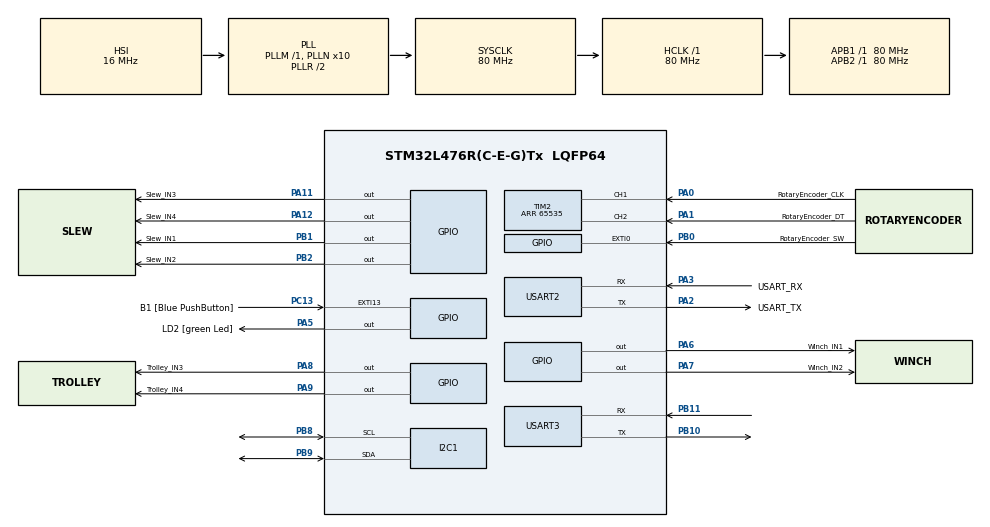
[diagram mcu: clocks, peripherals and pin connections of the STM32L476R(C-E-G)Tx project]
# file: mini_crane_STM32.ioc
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I2C1.Timing=0x10D19CE4
Mcu.Family=STM32L4
Mcu.Name=STM32L476R(C-E-G)Tx
Mcu.Package=LQFP64
NVIC.EXTI0_IRQn=true\:0\:0\:false\:false\:true\:true\:true\:true
NVIC.PriorityGroup=NVIC_PRIORITYGROUP_4
NVIC.TIM5_IRQn=true\:0\:0\:false\:false\:true\:true\:true\:true
NVIC.USART3_IRQn=true\:0\:0\:false\:false\:true\:true\:true\:true
PA0.GPIO_Label=RotaryEncoder_CLK
PA0.Signal=S_TIM2_CH1
PA1.GPIO_Label=RotaryEncoder_DT
PA1.Signal=S_TIM2_CH2
PA11.GPIO_Label=Slew_IN3
PA11.GPIO_Speed=GPIO_SPEED_FREQ_LOW
PA11.Signal=GPIO_Output
PA12.GPIO_Label=Slew_IN4
PA12.Signal=GPIO_Output
PA13\ (JTMS-SWDIO).GPIO_Label=TMS
PA13\ (JTMS-SWDIO).Mode=Serial_Wire
PA13\ (JTMS-SWDIO).Signal=SYS_JTMS-SWDIO
PA14\ (JTCK-SWCLK).GPIO_Label=TCK
PA14\ (JTCK-SWCLK).Mode=Serial_Wire
PA14\ (JTCK-SWCLK).Signal=SYS_JTCK-SWCLK
PA2.GPIO_Label=USART_TX
PA2.GPIO_Mode=GPIO_MODE_AF_PP
PA2.GPIO_PuPd=GPIO_NOPULL
PA2.GPIO_Speed=GPIO_SPEED_FREQ_VERY_HIGH
PA2.Mode=Asynchronous
PA2.Signal=USART2_TX
PA3.GPIO_Label=USART_RX
PA3.GPIO_Mode=GPIO_MODE_AF_PP
PA3.GPIO_PuPd=GPIO_NOPULL
PA3.GPIO_Speed=GPIO_SPEED_FREQ_VERY_HIGH
PA3.Mode=Asynchronous
PA3.Signal=USART2_RX
PA5.GPIO_Label=LD2 [green Led]
PA5.GPIO_ModeDefaultOutputPP=GPIO_MODE_OUTPUT_PP
PA5.GPIO_PuPd=GPIO_NOPULL
PA5.GPIO_Speed=GPIO_SPEED_FREQ_LOW
PA5.Signal=GPIO_Output
PA6.GPIO_Label=Winch_IN1
PA6.Signal=GPIO_Output
PA7.GPIO_Label=Winch_IN2
PA7.Signal=GPIO_Output
PA8.GPIO_Label=Trolley_IN3
PA8.Signal=GPIO_Output
PA9.GPIO_Label=Trolley_IN4
PA9.Signal=GPIO_Output
PB0.GPIO_Label=RotaryEncoder_SW
PB0.GPIO_ModeDefaultEXTI=GPIO_MODE_IT_FALLING
PB0.GPIO_PuPd=GPIO_PULLUP
PB0.Signal=GPXTI0
PB1.GPIO_Label=Slew_IN1
PB1.Signal=GPIO_Output
PB10.Mode=Asynchronous
PB10.Signal=USART3_TX
PB11.Mode=Asynchronous
PB11.Signal=USART3_RX
PB2.GPIO_Label=Slew_IN2
PB2.Signal=GPIO_Output
PB3\ (JTDO-TRACESWO).GPIO_Label=SWO
PB3\ (JTDO-TRACESWO).Signal=SYS_JTDO-SWO
PB8.GPIO_Pu=GPIO_PULLUP
PB8.Mode=I2C
PB8.Signal=I2C1_SCL
PB9.GPIO_Pu=GPIO_PULLUP
PB9.Mode=I2C
PB9.Signal=I2C1_SDA
PC13.GPIO_Label=B1 [Blue PushButton]
PC13.GPIO_ModeDefaultEXTI=GPIO_MODE_IT_FALLING
PC13.GPIO_PuPd=GPIO_NOPULL
PC13.Signal=GPXTI13
PC14-OSC32_IN\ (PC14).Mode=LSE-External-Oscillator
PC14-OSC32_IN\ (PC14).Signal=RCC_OSC32_IN
PC15-OSC32_OUT\ (PC15).Mode=LSE-External-Oscillator
PC15-OSC32_OUT\ (PC15).Signal=RCC_OSC32_OUT
PH0-OSC_IN\ (PH0).Signal=RCC_OSC_IN
PH1-OSC_OUT\ (PH1).Signal=RCC_OSC_OUT
ProjectManager.HeapSize=0x200
ProjectManager.StackSize=0x400
ProjectManager.TargetToolchain=STM32CubeIDE
RCC.ADCFreq_Value=64000000
RCC.AHBFreq_Value=80000000
RCC.APB1Freq_Value=80000000
RCC.APB1TimFreq_Value=80000000
RCC.APB2Freq_Value=80000000
RCC.APB2TimFreq_Value=80000000
RCC.CortexFreq_Value=80000000
RCC.HCLKFreq_Value=80000000
RCC.HSE_VALUE=8000000
RCC.HSI_VALUE=16000000
RCC.MSI_VALUE=4000000
RCC.PLLN=10
RCC.PLLSourceVirtual=RCC_PLLSOURCE_HSI
RCC.PREFETCH_ENABLE=1
RCC.SYSCLKFreq_VALUE=80000000
RCC.SYSCLKSource=RCC_SYSCLKSOURCE_PLLCLK
RCC.USBFreq_Value=64000000
RCC.VCOOutputFreq_Value=160000000
SH.S_TIM2_CH1.0=TIM2_CH1,Encoder_Interface
SH.S_TIM2_CH2.0=TIM2_CH2,Encoder_Interface
TIM2.AutoReloadPreload=TIM_AUTORELOAD_PRELOAD_ENABLE
TIM2.EncoderMode=TIM_ENCODERMODE_TI12
TIM2.IC1Filter=10
TIM2.IC1Polarity=TIM_ICPOLARITY_RISING
TIM2.IC2Filter=10
TIM2.Period=65535
TIM5.Period=1000-1
TIM5.Prescaler=80-1
USART2.VirtualMode-Asynchronous=VM_ASYNC
USART3.VirtualMode-Asynchronous=VM_ASYNC
VP_TIM5_VS_ClockSourceINT.Mode=Internal
board=NUCLEO-L476RG

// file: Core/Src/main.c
/* USER CODE BEGIN Header */
/**
  ******************************************************************************
  * @file           : main.c
  * @brief          : Main program body
  ******************************************************************************
  * @attention
  *
  * Copyright (c) 2025 STMicroelectronics.
  * All rights reserved.
  *
  * This software is licensed under terms that can be found in the LICENSE file
  * in the root directory of this software component.
  * If no LICENSE file comes with this software, it is provided AS-IS.
  *
  ******************************************************************************
  */
/* USER CODE END Header */
#include "main.h"

/* USER CODE BEGIN Includes */
#include <stdio.h>
#include <stdbool.h>
#include <math.h>
#include "arduino_comm.h"
#include "motors.h"
#include "rotary_encoder.h"
#include "swing_sensor.h"

/* USER CODE END Includes */

I2C_HandleTypeDef hi2c1;

TIM_HandleTypeDef htim2;
TIM_HandleTypeDef htim5;

UART_HandleTypeDef huart2;
UART_HandleTypeDef huart3;

/* USER CODE BEGIN PV */
bool compensation_in_progress = false;
bool prev_compensation_state = false;

RotaryEncoder_t ropeEncoder;

extern I2C_HandleTypeDef hi2c1;
SwingSensor_t swingData;

uint8_t btn;
ButtonEvent evt;
/* USER CODE END PV */

void SystemClock_Config(void);
static void MX_GPIO_Init(void);
static void MX_USART2_UART_Init(void);
static void MX_TIM5_Init(void);
static void MX_USART3_UART_Init(void);
static void MX_TIM2_Init(void);
static void MX_I2C1_Init(void);
/* USER CODE BEGIN PFP */
void TIM2_IRQHandler(void);
void Arduino_To_Motor_Control(void);
/* USER CODE END PFP */

int main(void)
{

  /* MCU Configuration--------------------------------------------------------*/

  /* Reset of all peripherals, Initializes the Flash interface and the Systick. */
  HAL_Init();

  /* Configure the system clock */
  SystemClock_Config();

  /* Initialize all configured peripherals */
  MX_GPIO_Init();
  MX_USART2_UART_Init();
  MX_TIM5_Init();
  MX_USART3_UART_Init();
  MX_TIM2_Init();
  MX_I2C1_Init();
  /* USER CODE BEGIN 2 */
  SwingSensor_Init(&hi2c1);
  HAL_Delay(1000);  // let IMU stabilize
  SwingSensor_CalibrateZero();

  RE_Init(&ropeEncoder, &htim2, 60.0f, 2.5f);   // 60 ticks (30 detents) per revelution, 2-1/2" diameter

  ArduinoComm_Init(&huart3);

  DCMotor_Init();
  SlewMotor_Init();

  int32_t count;
  float dist;
  int32_t lastCount = 0;
  float   lastDist  = 0.0f;

  uint32_t last = 0;

  printf("\033[2J\033[H");
  /* USER CODE END 2 */

  /* Infinite loop */
  while (1)
  {

    /* USER CODE BEGIN 3 */

// ----------- Compensation buzzer and LED ---------------------------
	  // using B1 just as a test/simulation going from STM32 to arduino
	  if (HAL_GPIO_ReadPin(B1_GPIO_Port, B1_Pin) == GPIO_PIN_RESET) {
		  compensation_in_progress = true;
	  }
	  else {
		  compensation_in_progress = false;
	  }
	  // turn on buzzer and LED on controller if compensation_in_progress is true
	  CheckCompensationAndNotify();
//	  test_buzzer_uart();

// ------------- Rotary Encoder -------------
// ----- This is done in the motor control function, but this one will display it anytime it changes, not just if a motor is going

//	  RE_Update(&ropeEncoder);
//	  count = RE_GetCount(&ropeEncoder);
//	  dist = RE_GetDistanceInches(&ropeEncoder);
//
//	  if (count != lastCount || dist != lastDist) {
//		  printf("Count=%ld  Distance=%.3f in\r\n", count, dist);
//	      lastCount = count;
//	      lastDist = dist;
//	  }

// ------------- MPU 6050 swing sensor -----------------------
//	  if (HAL_GetTick() - last >= 20) {  // 20 ms = 50 Hz
//		  SwingSensor_Update();
//
//		  float angle = SwingSensor_GetAngle();
//		  bool swinging = SwingSensor_IsSwinging();
//
//		  printf("Angle: %.3f    |%d\r\n", angle, swinging);
//		// Use these variables in your swing compensation logic here:
//		// angle  → filtered swing angle
//		// swinging → true/false
//
//	   	  last = HAL_GetTick();
//	  }
//
//	  HAL_Delay(100);

// ----------------- Arduino button press to motor driving -------------------
	  Arduino_To_Motor_Control();

  }
  /* USER CODE END 3 */
}

void SystemClock_Config(void)
{
  RCC_OscInitTypeDef RCC_OscInitStruct = {0};
  RCC_ClkInitTypeDef RCC_ClkInitStruct = {0};

  /** Configure the main internal regulator output voltage
  */
  if (HAL_PWREx_ControlVoltageScaling(PWR_REGULATOR_VOLTAGE_SCALE1) != HAL_OK)
  {
    Error_Handler();
  }

  /** Initializes the RCC Oscillators according to the specified parameters
  * in the RCC_OscInitTypeDef structure.
  */
  RCC_OscInitStruct.OscillatorType = RCC_OSCILLATORTYPE_HSI;
  RCC_OscInitStruct.HSIState = RCC_HSI_ON;
  RCC_OscInitStruct.HSICalibrationValue = RCC_HSICALIBRATION_DEFAULT;
  RCC_OscInitStruct.PLL.PLLState = RCC_PLL_ON;
  RCC_OscInitStruct.PLL.PLLSource = RCC_PLLSOURCE_HSI;
  RCC_OscInitStruct.PLL.PLLM = 1;
  RCC_OscInitStruct.PLL.PLLN = 10;
  RCC_OscInitStruct.PLL.PLLP = RCC_PLLP_DIV7;
  RCC_OscInitStruct.PLL.PLLQ = RCC_PLLQ_DIV2;
  RCC_OscInitStruct.PLL.PLLR = RCC_PLLR_DIV2;
  if (HAL_RCC_OscConfig(&RCC_OscInitStruct) != HAL_OK)
  {
    Error_Handler();
  }

  /** Initializes the CPU, AHB and APB buses clocks
  */
  RCC_ClkInitStruct.ClockType = RCC_CLOCKTYPE_HCLK|RCC_CLOCKTYPE_SYSCLK
                              |RCC_CLOCKTYPE_PCLK1|RCC_CLOCKTYPE_PCLK2;
  RCC_ClkInitStruct.SYSCLKSource = RCC_SYSCLKSOURCE_PLLCLK;
  RCC_ClkInitStruct.AHBCLKDivider = RCC_SYSCLK_DIV1;
  RCC_ClkInitStruct.APB1CLKDivider = RCC_HCLK_DIV1;
  RCC_ClkInitStruct.APB2CLKDivider = RCC_HCLK_DIV1;

  if (HAL_RCC_ClockConfig(&RCC_ClkInitStruct, FLASH_LATENCY_4) != HAL_OK)
  {
    Error_Handler();
  }
}

static void MX_I2C1_Init(void)
{

  hi2c1.Instance = I2C1;
  hi2c1.Init.Timing = 0x10D19CE4;
  hi2c1.Init.OwnAddress1 = 0;
  hi2c1.Init.AddressingMode = I2C_ADDRESSINGMODE_7BIT;
  hi2c1.Init.DualAddressMode = I2C_DUALADDRESS_DISABLE;
  hi2c1.Init.OwnAddress2 = 0;
  hi2c1.Init.OwnAddress2Masks = I2C_OA2_NOMASK;
  hi2c1.Init.GeneralCallMode = I2C_GENERALCALL_DISABLE;
  hi2c1.Init.NoStretchMode = I2C_NOSTRETCH_DISABLE;
  if (HAL_I2C_Init(&hi2c1) != HAL_OK)
  {
    Error_Handler();
  }

  /** Configure Analogue filter
  */
  if (HAL_I2CEx_ConfigAnalogFilter(&hi2c1, I2C_ANALOGFILTER_ENABLE) != HAL_OK)
  {
    Error_Handler();
  }

  /** Configure Digital filter
  */
  if (HAL_I2CEx_ConfigDigitalFilter(&hi2c1, 0) != HAL_OK)
  {
    Error_Handler();
  }

}

static void MX_TIM2_Init(void)
{

  TIM_Encoder_InitTypeDef sConfig = {0};
  TIM_MasterConfigTypeDef sMasterConfig = {0};

  htim2.Instance = TIM2;
  htim2.Init.Prescaler = 0;
  htim2.Init.CounterMode = TIM_COUNTERMODE_UP;
  htim2.Init.Period = 65535;
  htim2.Init.ClockDivision = TIM_CLOCKDIVISION_DIV1;
  htim2.Init.AutoReloadPreload = TIM_AUTORELOAD_PRELOAD_ENABLE;
  sConfig.EncoderMode = TIM_ENCODERMODE_TI12;
  sConfig.IC1Polarity = TIM_ICPOLARITY_RISING;
  sConfig.IC1Selection = TIM_ICSELECTION_DIRECTTI;
  sConfig.IC1Prescaler = TIM_ICPSC_DIV1;
  sConfig.IC1Filter = 10;
  sConfig.IC2Polarity = TIM_ICPOLARITY_RISING;
  sConfig.IC2Selection = TIM_ICSELECTION_DIRECTTI;
  sConfig.IC2Prescaler = TIM_ICPSC_DIV1;
  sConfig.IC2Filter = 10;
  if (HAL_TIM_Encoder_Init(&htim2, &sConfig) != HAL_OK)
  {
    Error_Handler();
  }
  sMasterConfig.MasterOutputTrigger = TIM_TRGO_RESET;
  sMasterConfig.MasterSlaveMode = TIM_MASTERSLAVEMODE_DISABLE;
  if (HAL_TIMEx_MasterConfigSynchronization(&htim2, &sMasterConfig) != HAL_OK)
  {
    Error_Handler();
  }

}

static void MX_TIM5_Init(void)
{

  TIM_ClockConfigTypeDef sClockSourceConfig = {0};
  TIM_MasterConfigTypeDef sMasterConfig = {0};

  htim5.Instance = TIM5;
  htim5.Init.Prescaler = 80-1;
  htim5.Init.CounterMode = TIM_COUNTERMODE_UP;
  htim5.Init.Period = 1000-1;
  htim5.Init.ClockDivision = TIM_CLOCKDIVISION_DIV1;
  htim5.Init.AutoReloadPreload = TIM_AUTORELOAD_PRELOAD_DISABLE;
  if (HAL_TIM_Base_Init(&htim5) != HAL_OK)
  {
    Error_Handler();
  }
  sClockSourceConfig.ClockSource = TIM_CLOCKSOURCE_INTERNAL;
  if (HAL_TIM_ConfigClockSource(&htim5, &sClockSourceConfig) != HAL_OK)
  {
    Error_Handler();
  }
  sMasterConfig.MasterOutputTrigger = TIM_TRGO_RESET;
  sMasterConfig.MasterSlaveMode = TIM_MASTERSLAVEMODE_DISABLE;
  if (HAL_TIMEx_MasterConfigSynchronization(&htim5, &sMasterConfig) != HAL_OK)
  {
    Error_Handler();
  }

}

static void MX_USART2_UART_Init(void)
{

  huart2.Instance = USART2;
  huart2.Init.BaudRate = 115200;
  huart2.Init.WordLength = UART_WORDLENGTH_8B;
  huart2.Init.StopBits = UART_STOPBITS_1;
  huart2.Init.Parity = UART_PARITY_NONE;
  huart2.Init.Mode = UART_MODE_TX_RX;
  huart2.Init.HwFlowCtl = UART_HWCONTROL_NONE;
  huart2.Init.OverSampling = UART_OVERSAMPLING_16;
  huart2.Init.OneBitSampling = UART_ONE_BIT_SAMPLE_DISABLE;
  huart2.AdvancedInit.AdvFeatureInit = UART_ADVFEATURE_NO_INIT;
  if (HAL_UART_Init(&huart2) != HAL_OK)
  {
    Error_Handler();
  }

}

static void MX_USART3_UART_Init(void)
{

  huart3.Instance = USART3;
  huart3.Init.BaudRate = 115200;
  huart3.Init.WordLength = UART_WORDLENGTH_8B;
  huart3.Init.StopBits = UART_STOPBITS_1;
  huart3.Init.Parity = UART_PARITY_NONE;
  huart3.Init.Mode = UART_MODE_TX_RX;
  huart3.Init.HwFlowCtl = UART_HWCONTROL_NONE;
  huart3.Init.OverSampling = UART_OVERSAMPLING_16;
  huart3.Init.OneBitSampling = UART_ONE_BIT_SAMPLE_DISABLE;
  huart3.AdvancedInit.AdvFeatureInit = UART_ADVFEATURE_NO_INIT;
  if (HAL_UART_Init(&huart3) != HAL_OK)
  {
    Error_Handler();
  }

}

static void MX_GPIO_Init(void)
{
  GPIO_InitTypeDef GPIO_InitStruct = {0};

  /* GPIO Ports Clock Enable */
  __HAL_RCC_GPIOC_CLK_ENABLE();
  __HAL_RCC_GPIOH_CLK_ENABLE();
  __HAL_RCC_GPIOA_CLK_ENABLE();
  __HAL_RCC_GPIOB_CLK_ENABLE();

  /*Configure GPIO pin Output Level */
  HAL_GPIO_WritePin(GPIOA, LD2_Pin|Winch_IN1_Pin|Winch_IN2_Pin|Trolley_IN3_Pin
                          |Trolley_IN4_Pin|Slew_IN3_Pin|Slew_IN4_Pin, GPIO_PIN_RESET);

  /*Configure GPIO pin Output Level */
  HAL_GPIO_WritePin(GPIOB, Slew_IN1_Pin|Slew_IN2_Pin, GPIO_PIN_RESET);

  /*Configure GPIO pin : B1_Pin */
  GPIO_InitStruct.Pin = B1_Pin;
  GPIO_InitStruct.Mode = GPIO_MODE_IT_FALLING;
  GPIO_InitStruct.Pull = GPIO_NOPULL;
  HAL_GPIO_Init(B1_GPIO_Port, &GPIO_InitStruct);

  /*Configure GPIO pins : LD2_Pin Winch_IN1_Pin Winch_IN2_Pin Trolley_IN3_Pin
                           Trolley_IN4_Pin Slew_IN3_Pin Slew_IN4_Pin */
  GPIO_InitStruct.Pin = LD2_Pin|Winch_IN1_Pin|Winch_IN2_Pin|Trolley_IN3_Pin
                          |Trolley_IN4_Pin|Slew_IN3_Pin|Slew_IN4_Pin;
  GPIO_InitStruct.Mode = GPIO_MODE_OUTPUT_PP;
  GPIO_InitStruct.Pull = GPIO_NOPULL;
  GPIO_InitStruct.Speed = GPIO_SPEED_FREQ_LOW;
  HAL_GPIO_Init(GPIOA, &GPIO_InitStruct);

  /*Configure GPIO pin : RotaryEncoder_SW_Pin */
  GPIO_InitStruct.Pin = RotaryEncoder_SW_Pin;
  GPIO_InitStruct.Mode = GPIO_MODE_IT_FALLING;
  GPIO_InitStruct.Pull = GPIO_PULLUP;
  HAL_GPIO_Init(RotaryEncoder_SW_GPIO_Port, &GPIO_InitStruct);

  /*Configure GPIO pins : Slew_IN1_Pin Slew_IN2_Pin */
  GPIO_InitStruct.Pin = Slew_IN1_Pin|Slew_IN2_Pin;
  GPIO_InitStruct.Mode = GPIO_MODE_OUTPUT_PP;
  GPIO_InitStruct.Pull = GPIO_NOPULL;
  GPIO_InitStruct.Speed = GPIO_SPEED_FREQ_LOW;
  HAL_GPIO_Init(GPIOB, &GPIO_InitStruct);

  /* EXTI interrupt init*/
  HAL_NVIC_SetPriority(EXTI0_IRQn, 0, 0);
  HAL_NVIC_EnableIRQ(EXTI0_IRQn);

}

/* USER CODE BEGIN 4 */
// Redirect printf() to USB UART (huart2)
int __io_putchar(int ch) {
    HAL_UART_Transmit(&huart2, (uint8_t *)&ch, 1, HAL_MAX_DELAY);
    return ch;
}

void HAL_TIM_PeriodElapsedCallback(TIM_HandleTypeDef *htim)
{
    if (htim->Instance == TIM5) {Stepper_Timer_Callback();}
}

void HAL_UART_RxCpltCallback(UART_HandleTypeDef *huart) {
    ArduinoComm_UART_RxCallback(huart);
}

void HAL_GPIO_EXTI_Callback(uint16_t GPIO_Pin)
{
    if (GPIO_Pin == RotaryEncoder_SW_Pin) {
        RE_ButtonPressed(&ropeEncoder); // reset rotary encoder length to 0
    }
}

void Arduino_To_Motor_Control(void)
{
	int32_t count;
	float dist;

    uint8_t btn;
    ButtonEvent evt;

    if (ArduinoComm_GetButtonEvent(&btn, &evt))
    {
        if (evt == BUTTON_PRESS)
        {
            switch (btn)
            {
                case 0:
                    TrolleyMotor_Set(FORWARD);
                    printf("Trolley forward\r\n");
                    break;

                case 1:
                    SlewMotor_Set(140.0f, COUNTERCLOCKWISE);
                    printf("Slew CounterClockwise\r\n");
                    break;

                case 2:
                    TrolleyMotor_Set(REVERSE);
                    printf("Trolley backward\r\n");
                    break;

                case 3:
                    SlewMotor_Set(140.0f, CLOCKWISE);
                    printf("Slew Clockwise\r\n");
                    break;

                case 4:
                	// winch motor pins from L298N Motor driver module arent working, combined it with trolley for demo
//                    WinchMotor_Set(FORWARD);
                	TrolleyMotor_Set(FORWARD);
                    printf("Winch out | ");

                    // display rotary encoder information
					RE_Update(&ropeEncoder);
					count = RE_GetCount(&ropeEncoder);
					dist = RE_GetDistanceInches(&ropeEncoder);
					printf("Count=%ld  Distance=%.3f in\r\n", count, dist);
                    break;

                case 5:
                	// winch motor pins from L298N Motor driver module arent working, combined it with trolley for demo
//                    WinchMotor_Set(REVERSE);
                	TrolleyMotor_Set(REVERSE);
                    printf("Winch in  | ");

                    // display rotary encoder information
					RE_Update(&ropeEncoder);
					count = RE_GetCount(&ropeEncoder);
					dist = RE_GetDistanceInches(&ropeEncoder);
					printf("Count=%ld  Distance=%.3f in\r\n", count, dist);
                    break;

                default:
                    printf("Unknown button %d\r\n", btn);
                    break;
            }
        }
        else // BUTTON_RELEASE
        {
            switch (btn)
            {
                case 0:
                case 2:
                    TrolleyMotor_Set(STOP);
                    printf("Trolley stop\r\n");
                    break;

                case 1:
                case 3:
                    SlewMotor_Set(10.0f, HOLD);
                    SlewMotor_Coast();
                    printf("Slew coast\r\n");
                    break;

                case 4:
                case 5:
                	// winch motor pins from L298N Motor driver module arent working, combined it with trolley for demo
//                    WinchMotor_Set(STOP);
                	TrolleyMotor_Set(STOP);
                    printf("Winch stop\r\n");
                    break;

                default:
                    printf("Unknown button %d\r\n", btn);
                    break;
            }
        }
    }

    HAL_Delay(10);
}
/* USER CODE END 4 */

void Error_Handler(void)
{
  __disable_irq();
  while (1)
  {
  }
}
